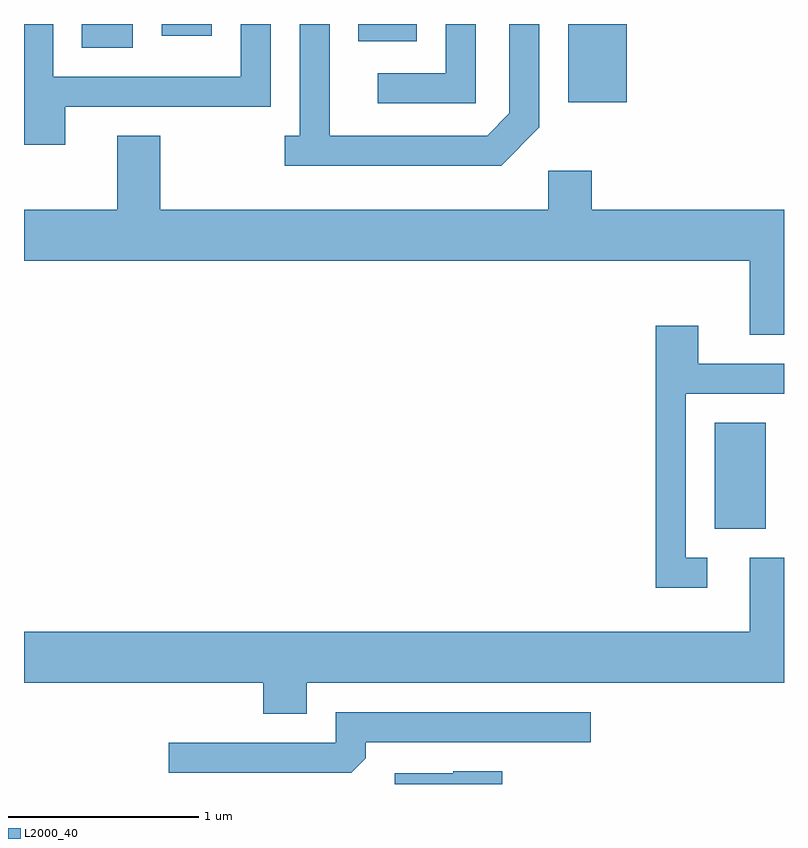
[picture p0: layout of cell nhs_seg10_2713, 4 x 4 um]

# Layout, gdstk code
import gdstk
lib = gdstk.Library(unit=1e-6, precision=1e-09)
def R(c, l, rs):  # rectangles x0, y0, x1, y1
    for r in rs: c.add(gdstk.rectangle(r[:2], r[2:], *l))
def P(c, l, *ps):  # polygons
    for p in ps: c.add(gdstk.Polygon(p, *l))
L2000_40 = (2000, 40)

nhs_seg10_2713 = lib.new_cell('nhs_seg10_2713')
R(nhs_seg10_2713, L2000_40, [(269.246,2085.866,269.514,2086.424), (268.476,2088.111,268.784,2088.522), (265.916,2088.396,266.184,2088.522), (267.371,2088.431,267.679,2088.522), (266.336,2088.461,266.599,2088.522)])
P(nhs_seg10_2713, L2000_40, [(267.989,2088.522),(267.831,2088.522),(267.831,2088.264),(267.473,2088.264),(267.473,2088.106),(267.989,2088.106)],
  [(265.829,2088.086),(266.909,2088.086),(266.909,2088.522),(266.751,2088.522),(266.751,2088.244),(265.764,2088.244),(265.764,2088.522),(265.611,2088.522),(265.611,2087.886),(265.829,2087.886)],
  [(268.324,2087.979),(268.324,2088.522),(268.166,2088.522),(268.166,2088.052),(268.049,2087.934),(267.219,2087.934),(267.219,2088.522),(267.061,2088.522),(267.061,2087.934),(266.983,2087.934),(266.983,2087.776),(268.122,2087.776)],
  [(269.611,2087.544),(268.599,2087.544),(268.599,2087.749),(268.371,2087.749),(268.371,2087.544),(266.329,2087.544),(266.329,2087.934),(266.101,2087.934),(266.101,2087.544),(265.611,2087.544),(265.611,2087.276),(269.431,2087.276),(269.431,2086.886),(269.611,2086.886)],
  [(269.208,2085.714),(269.094,2085.714),(269.094,2086.576),(269.611,2086.576),(269.611,2086.734),(269.159,2086.734),(269.159,2086.934),(268.936,2086.934),(268.936,2085.556),(269.208,2085.556)],
  [(267.099,2085.056),(269.611,2085.056),(269.611,2085.714),(269.431,2085.714),(269.431,2085.324),(265.611,2085.324),(265.611,2085.056),(266.871,2085.056),(266.871,2084.891),(267.099,2084.891)],
  [(267.409,2084.657),(267.409,2084.741),(268.593,2084.741),(268.593,2084.899),(267.251,2084.899),(267.251,2084.739),(266.373,2084.739),(266.373,2084.581),(267.334,2084.581)],
  [(268.129,2084.589),(267.87,2084.589),(267.87,2084.579),(267.561,2084.579),(267.561,2084.522),(268.129,2084.522)])

lib.write_gds('nhs_seg10_2713.gds')
